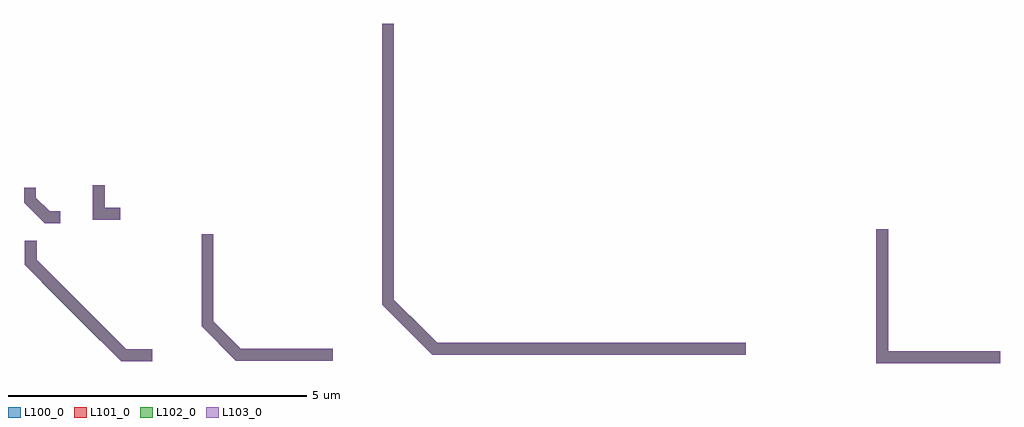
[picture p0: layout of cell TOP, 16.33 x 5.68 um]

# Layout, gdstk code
import gdstk
lib = gdstk.Library(unit=1e-6, precision=1e-09)
def R(c, l, rs):  # rectangles x0, y0, x1, y1
    for r in rs: c.add(gdstk.rectangle(r[:2], r[2:], *l))
def P(c, l, *ps):  # polygons
    for p in ps: c.add(gdstk.Polygon(p, *l))
L100_0 = (100, 0)
L101_0 = (101, 0)
L102_0 = (102, 0)
L103_0 = (103, 0)

top = lib.new_cell('TOP')
R(top, L100_0, [(13.8,-0.14,15.87,0.06), (13.8,0.06,14,2.1), (2.51,0.562,2.71,2.02), (5.53,0.922,5.73,5.54)])
P(top, L100_0, [(6.368,0),(5.53,0.838),(5.53,0.922),(5.73,0.922),(6.452,0.2),(11.62,0.2),(11.62,0)],
  [(1.168,-0.11),(-0.45,1.508),(-0.45,1.91),(-0.25,1.91),(-0.25,1.592),(1.252,0.09),(1.69,0.09),(1.69,-0.11)],
  [(3.083,-0.095),(2.51,0.478),(2.51,0.562),(2.71,0.562),(3.167,0.105),(4.71,0.105),(4.71,-0.095)],
  [(-0.112,2.2),(-0.46,2.548),(-0.46,2.8),(-0.26,2.8),(-0.26,2.632),(-0.028,2.4),(0.15,2.4),(0.15,2.2)],
  [(0.69,2.26),(0.69,2.84),(0.89,2.84),(0.89,2.46),(1.15,2.46),(1.15,2.26)])
P(top, L101_0, [(13.8,-0.14),(13.8,2.1),(14,2.1),(14,0.06),(15.87,0.06),(15.87,-0.14)],
  [(6.368,0),(5.53,0.838),(5.53,5.54),(5.73,5.54),(5.73,0.922),(6.452,0.2),(11.62,0.2),(11.62,0)],
  [(1.168,-0.11),(-0.45,1.508),(-0.45,1.91),(-0.25,1.91),(-0.25,1.592),(1.252,0.09),(1.69,0.09),(1.69,-0.11)],
  [(3.083,-0.095),(2.51,0.478),(2.51,2.02),(2.71,2.02),(2.71,0.562),(3.167,0.105),(4.71,0.105),(4.71,-0.095)],
  [(-0.112,2.2),(-0.46,2.548),(-0.46,2.8),(-0.26,2.8),(-0.26,2.632),(-0.028,2.4),(0.15,2.4),(0.15,2.2)],
  [(0.69,2.26),(0.69,2.84),(0.89,2.84),(0.89,2.46),(1.15,2.46),(1.15,2.26)])
R(top, L102_0, [(13.8,-0.14,15.87,0.06), (3.167,-0.095,4.71,0.105), (6.452,0,11.62,0.2), (13.8,0.06,14,2.1), (2.51,0.562,2.71,2.02), (5.53,0.922,5.73,5.54)])
P(top, L102_0, [(6.368,0),(6.168,0.2),(6.452,0.2),(6.452,0)],
  [(6.168,0.2),(6.168,0.484),(6.452,0.2)],
  [(6.168,0.2),(5.53,0.838),(5.814,0.838),(6.168,0.484)],
  [(5.53,0.838),(5.53,0.922),(5.73,0.922),(5.814,0.838)],
  [(1.168,-0.11),(0.968,0.09),(1.69,0.09),(1.69,-0.11)],
  [(0.968,0.09),(0.968,0.374),(1.252,0.09)],
  [(0.968,0.09),(0.684,0.374),(0.968,0.374)],
  [(0.684,0.374),(0.684,0.658),(0.968,0.374)],
  [(0.684,0.374),(0.4,0.658),(0.684,0.658)],
  [(0.4,0.658),(0.4,0.942),(0.684,0.658)],
  [(0.4,0.658),(0.116,0.942),(0.4,0.942)],
  [(0.116,0.942),(-0.45,1.508),(-0.166,1.508),(0.4,0.942)],
  [(-0.45,1.508),(-0.45,1.91),(-0.25,1.91),(-0.25,1.592),(-0.166,1.508)],
  [(3.083,-0.095),(2.51,0.478),(2.51,0.562),(2.71,0.562),(3.167,0.105),(3.167,-0.095)],
  [(-0.112,2.2),(-0.46,2.548),(-0.46,2.8),(-0.26,2.8),(-0.26,2.632),(-0.028,2.4),(0.15,2.4),(0.15,2.2)],
  [(0.69,2.26),(0.69,2.84),(0.89,2.84),(0.89,2.46),(1.15,2.46),(1.15,2.26)])
R(top, L103_0, [(13.8,-0.14,15.87,0.06), (13.8,0.06,14,2.1), (2.51,0.562,2.71,2.02), (5.53,0.922,5.73,5.54)])
P(top, L103_0, [(6.368,0),(5.53,0.838),(5.53,0.922),(5.73,0.922),(6.452,0.2),(11.62,0.2),(11.62,0)],
  [(1.168,-0.11),(-0.45,1.508),(-0.45,1.91),(-0.25,1.91),(-0.25,1.592),(1.252,0.09),(1.69,0.09),(1.69,-0.11)],
  [(3.083,-0.095),(2.51,0.478),(2.51,0.562),(2.71,0.562),(3.167,0.105),(4.71,0.105),(4.71,-0.095)],
  [(-0.112,2.2),(-0.46,2.548),(-0.46,2.8),(-0.26,2.8),(-0.26,2.632),(-0.028,2.4),(0.15,2.4),(0.15,2.2)],
  [(0.69,2.26),(0.69,2.84),(0.89,2.84),(0.89,2.46),(1.15,2.46),(1.15,2.26)])

lib.write_gds('TOP.gds')
